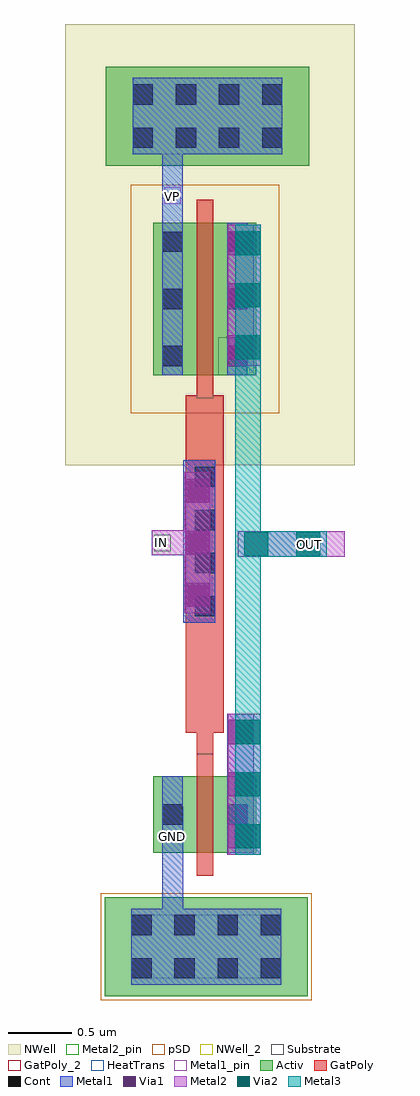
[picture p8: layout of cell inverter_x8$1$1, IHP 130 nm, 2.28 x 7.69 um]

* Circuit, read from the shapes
.subckt inverter_x8$1$1 GND IN OUT VP
XM1 OUT IN GND GND sg13_lv_nmos w=0.6u l=0.13u
XM2 OUT IN VP VP sg13_lv_pmos w=1.2u l=0.13u
.ends

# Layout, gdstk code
import gdstk
lib = gdstk.Library(unit=1e-6, precision=1e-09)
def R(c, l, rs):  # rectangles x0, y0, x1, y1
    for r in rs: c.add(gdstk.rectangle(r[:2], r[2:], *l))
def A(c, l, x, y, w, h, nx, ny, dx, dy):  # array of equal rectangles
    R(c, l, [(x+i*dx, y+j*dy, x+i*dx+w, y+j*dy+h) for i in range(nx) for j in range(ny)])
Activ = (1, 0)
GatPoly = (5, 0)
GatPoly_2 = (5, 2)
Cont = (6, 0)
Metal1 = (8, 0)
Metal1_pin = (8, 2)
Metal2 = (10, 0)
Metal2_pin = (10, 2)
pSD = (14, 0)
Via1 = (19, 0)
Via2 = (29, 0)
Metal3 = (30, 0)
NWell = (31, 0)
NWell_2 = (31, 2)
Substrate = (40, 0)
HeatTrans = (51, 0)

via_41_1 = lib.new_cell('Via$41$1')
R(via_41_1, Metal2, [(-0.1,-0.555,0.1,0.555)])
A(via_41_1, Via2, -0.095, -0.505, 0.19, 0.19, 1, 3, 0, 0.41)
R(via_41_1, Metal3, [(-0.1,-0.555,0.1,0.555)])

via_2_12_1 = lib.new_cell('Via$2$12$1')
R(via_2_12_1, Metal1, [(-0.105,-0.555,0.105,0.555)])
R(via_2_12_1, Metal2, [(-0.1,-0.555,0.1,0.555)])
A(via_2_12_1, Via1, -0.095, -0.505, 0.19, 0.19, 1, 3, 0, 0.41)

via_3_3_1 = lib.new_cell('Via$3$3$1')
R(via_3_3_1, Metal2, [(-0.35,-0.1,0.35,0.1)])
R(via_3_3_1, Via2, [(-0.3,-0.095,-0.11,0.095), (0.11,-0.095,0.3,0.095)])
R(via_3_3_1, Metal3, [(-0.35,-0.1,0.35,0.1)])

ntap1_45_1 = lib.new_cell('ntap1$45$1')
R(ntap1_45_1, Activ, [(0,0,1.6,0.78)])
A(ntap1_45_1, Cont, 0.21, 0.14, 0.16, 0.16, 4, 2, 0.34, 0.34)
R(ntap1_45_1, Metal1, [(0.21,0.09,1.39,0.69)])
R(ntap1_45_1, Metal1_pin, [(0.21,0.09,1.39,0.69), (0.21,0.14,1.39,0.64)])
R(ntap1_45_1, NWell, [(-0.24,-0.24,1.84,1.02), (0,0,1.6,0.78)])
R(ntap1_45_1, NWell_2, [(0,0,1.6,0.78)])
ntap1_45_1.add(gdstk.Label('well', (0.8,0.01), layer=63, texttype=0))
ntap1_45_1.add(gdstk.Label('well', (0.8,0.01), layer=31, texttype=0))

ptap1_15_2 = lib.new_cell('ptap1$15$2')
R(ptap1_15_2, Activ, [(0,0,1.6,0.78)])
A(ptap1_15_2, Cont, 0.21, 0.14, 0.16, 0.16, 4, 2, 0.34, 0.34)
R(ptap1_15_2, Metal1, [(0.21,0.09,1.39,0.69), (0.21,0.14,1.39,0.64)])
R(ptap1_15_2, Metal1_pin, [(0.21,0.14,1.39,0.64)])
R(ptap1_15_2, pSD, [(-0.03,-0.03,1.63,0.81)])
R(ptap1_15_2, Substrate, [(0,0,1.6,0.78)])
ptap1_15_2.add(gdstk.Label('sub!', (0.8,0.01), layer=63, texttype=0))
ptap1_15_2.add(gdstk.Label('sub!', (0.8,0.01), layer=40, texttype=0))

pmos_15_1 = lib.new_cell('pmos$15$1')
R(pmos_15_1, Activ, [(0,0,0.3,0.3), (0,0,0.81,1.2), (0.51,0,0.81,0.3)])
R(pmos_15_1, GatPoly, [(0.34,-0.18,0.47,1.38), (0.34,-0.18,0.47,1.38)])
A(pmos_15_1, Cont, 0.07, 0.07, 0.16, 0.16, 1, 3, 0, 0.45)
A(pmos_15_1, Cont, 0.58, 0.07, 0.16, 0.16, 1, 3, 0, 0.45)
R(pmos_15_1, Metal1, [(0.07,0,0.23,1.2), (0.07,0,0.23,1.2), (0.58,0,0.74,1.2), (0.58,0,0.74,1.2)])
R(pmos_15_1, pSD, [(-0.18,-0.3,0.99,1.5)])
R(pmos_15_1, NWell, [(-0.31,-0.31,1.12,1.51)])
R(pmos_15_1, Substrate, [(0.51,0,0.81,0.3)])
R(pmos_15_1, HeatTrans, [(0.34,-0.18,0.47,1.38)])
pmos_15_1.add(gdstk.Label('pmos', (0.405,0.6), layer=63, texttype=0))
pmos_15_1.add(gdstk.Label('pmos', (0.405,0.6), layer=51, texttype=0))

via_4_2_2 = lib.new_cell('Via$4$2$2')
R(via_4_2_2, GatPoly, [(-0.15,-0.66,0.15,0.66)])
A(via_4_2_2, Cont, -0.08, -0.59, 0.16, 0.16, 1, 4, 0, 0.34)
R(via_4_2_2, Metal1, [(-0.08,-0.64,0.08,0.64)])

nmos_25_1 = lib.new_cell('nmos$25$1')
R(nmos_25_1, Activ, [(0,0,0.3,0.3), (0,0,0.81,0.6), (0.51,0,0.81,0.3)])
R(nmos_25_1, GatPoly, [(0.34,-0.18,0.47,0.78)])
R(nmos_25_1, GatPoly_2, [(0.34,-0.18,0.47,0.78)])
R(nmos_25_1, Cont, [(0.07,0.22,0.23,0.38), (0.58,0.22,0.74,0.38)])
R(nmos_25_1, Metal1, [(0.07,0,0.23,0.6), (0.58,0,0.74,0.6)])
R(nmos_25_1, Metal1_pin, [(0.07,0,0.23,0.6), (0.58,0,0.74,0.6)])
R(nmos_25_1, HeatTrans, [(0.34,-0.18,0.47,0.78)])
nmos_25_1.add(gdstk.Label('nmos', (0.405,0.3), layer=63, texttype=0))
nmos_25_1.add(gdstk.Label('nmos', (0.405,0.3), layer=51, texttype=0))

inverter_x8_1_1 = lib.new_cell('inverter_x8$1$1')
R(inverter_x8_1_1, GatPoly, [(-0.265,-2.855,-0.135,-2.655), (-0.35,-2.655,-0.05,-1.81), (-0.35,-0.49,-0.05,0)])
R(inverter_x8_1_1, Metal1, [(-0.535,-4.45,-0.37,-3.805), (-0.535,-3.805,-0.37,-3.24), (-0.37,-1.79,-0.35,-0.51), (-0.35,-1.79,-0.28,-0.51), (-0.535,0.96,-0.375,1.26), (-0.535,1.245,-0.375,2.235)])
R(inverter_x8_1_1, Metal1_pin, [(-0.52,-3.54,-0.39,-3.41), (-0.52,1.51,-0.39,1.64)])
R(inverter_x8_1_1, Metal2, [(0.53,-1.27,0.9,-1.07), (-0.62,-1.26,-0.28,-1.06)])
R(inverter_x8_1_1, Metal2_pin, [(0.555,-1.235,0.685,-1.105), (-0.6,-1.225,-0.47,-1.095)])
R(inverter_x8_1_1, Metal3, [(0.04,-3.09,0.24,-2.63), (0.04,-2.7,0.24,-0.24), (0.04,-0.34,0.24,0.76)])
R(inverter_x8_1_1, NWell, [(-1.3,-0.55,0.98,0.655), (-1.3,0.655,0.755,2.925), (0.755,0.655,0.98,2.925)])
inverter_x8_1_1.add(gdstk.Reference(via_41_1, (0.14,-3.06)))
inverter_x8_1_1.add(gdstk.Reference(via_2_12_1, (0.08,-3.06)))
inverter_x8_1_1.add(gdstk.Reference(via_2_12_1, (-0.26,-1.16)))
inverter_x8_1_1.add(gdstk.Reference(via_3_3_1, (0.41,-1.17)))
inverter_x8_1_1.add(gdstk.Reference(via_41_1, (0.14,0.79)))
inverter_x8_1_1.add(gdstk.Reference(via_2_12_1, (0.08,0.79)))
inverter_x8_1_1.add(gdstk.Reference(ntap1_45_1, (-0.98,1.81)))
inverter_x8_1_1.add(gdstk.Reference(ptap1_15_2, (-0.99,-4.73)))
inverter_x8_1_1.add(gdstk.Reference(pmos_15_1, (-0.605,0.16)))
inverter_x8_1_1.add(gdstk.Reference(via_4_2_2, (-0.2,-1.15)))
inverter_x8_1_1.add(gdstk.Reference(nmos_25_1, (-0.605,-3.6)))
inverter_x8_1_1.add(gdstk.Label('GND', (-0.455,-3.47), layer=8, texttype=25))
inverter_x8_1_1.add(gdstk.Label('VP', (-0.455,1.57), layer=8, texttype=25))
inverter_x8_1_1.add(gdstk.Label('OUT', (0.62,-1.17), layer=10, texttype=25))
inverter_x8_1_1.add(gdstk.Label('IN', (-0.54,-1.16), layer=10, texttype=25))

lib.write_gds('inverter_x8_1_1.gds')
